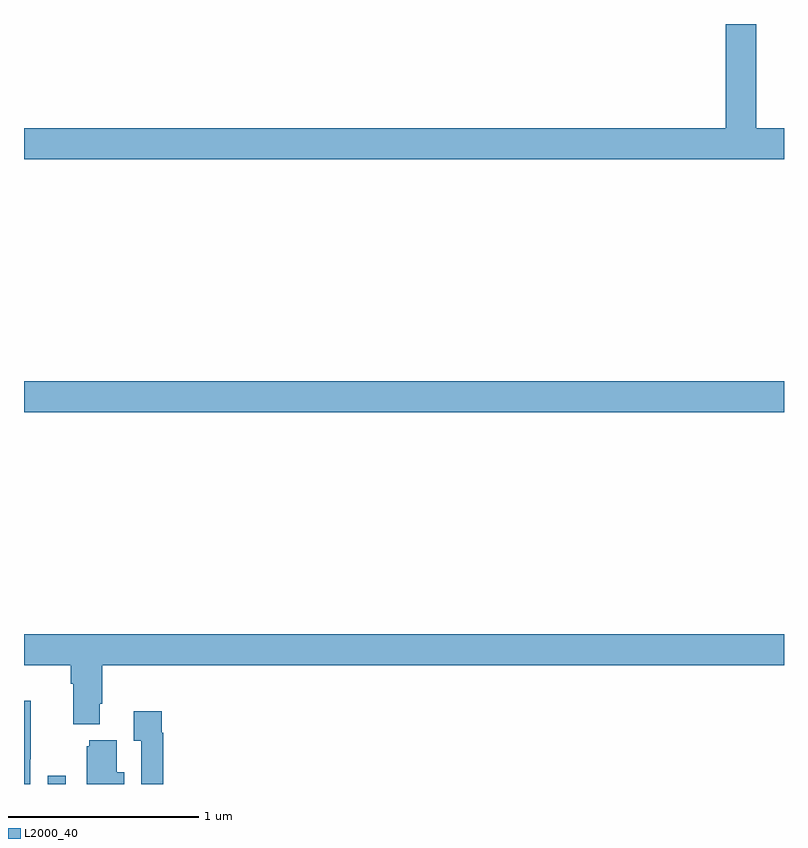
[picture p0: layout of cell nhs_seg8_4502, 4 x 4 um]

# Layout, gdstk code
import gdstk
lib = gdstk.Library(unit=1e-6, precision=1e-09)
def R(c, l, rs):  # rectangles x0, y0, x1, y1
    for r in rs: c.add(gdstk.rectangle(r[:2], r[2:], *l))
def P(c, l, *ps):  # polygons
    for p in ps: c.add(gdstk.Polygon(p, *l))
L2000_40 = (2000, 40)

nhs_seg8_4502 = lib.new_cell('nhs_seg8_4502')
R(nhs_seg8_4502, L2000_40, [(385.125,1091.9,385.221,1091.944), (385,1093.856,389,1094.02)])
P(nhs_seg8_4502, L2000_40, [(389,1095.352),(388.854,1095.352),(388.854,1095.9),(388.694,1095.9),(388.694,1095.352),(385,1095.352),(385,1095.188),(389,1095.188)],
  [(385.399,1092.322),(385.412,1092.322),(385.412,1092.524),(389,1092.524),(389,1092.688),(385,1092.688),(385,1092.524),(385.247,1092.524),(385.247,1092.428),(385.259,1092.428),(385.259,1092.215),(385.399,1092.215)],
  [(385.032,1092.031),(385.035,1092.031),(385.035,1092.338),(385,1092.338),(385,1091.9),(385.032,1091.9)],
  [(385.733,1092.17),(385.726,1092.17),(385.726,1092.283),(385.577,1092.283),(385.577,1092.127),(385.617,1092.127),(385.617,1091.9),(385.733,1091.9)],
  [(385.528,1091.962),(385.489,1091.962),(385.489,1092.13),(385.343,1092.13),(385.343,1092.099),(385.331,1092.099),(385.331,1091.9),(385.528,1091.9)])

lib.write_gds('nhs_seg8_4502.gds')
